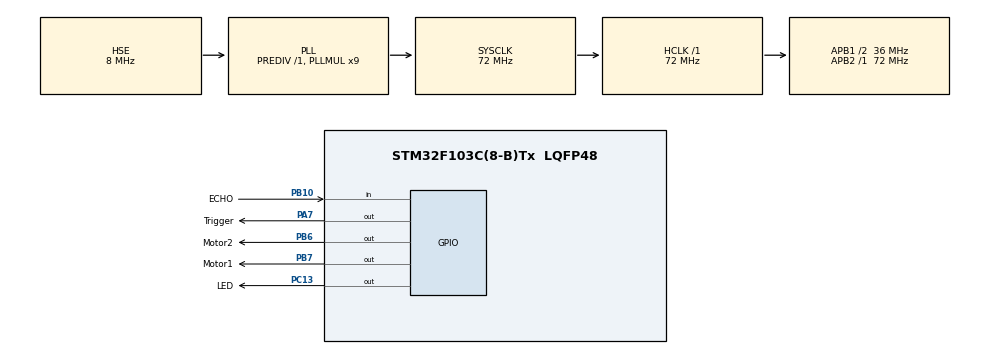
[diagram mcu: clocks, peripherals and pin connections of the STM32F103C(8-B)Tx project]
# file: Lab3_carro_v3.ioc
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Mcu.Family=STM32F1
Mcu.Name=STM32F103C(8-B)Tx
Mcu.Package=LQFP48
NVIC.PriorityGroup=NVIC_PRIORITYGROUP_4
NVIC.TIM2_IRQn=true\:0\:0\:false\:false\:true\:true\:true\:true
PA7.GPIO_Label=Trigger
PA7.Signal=GPIO_Output
PB10.GPIO_Label=ECHO
PB10.GPIO_PuPd=GPIO_PULLDOWN
PB10.Signal=GPIO_Input
PB6.GPIO_Label=Motor2
PB6.Signal=GPIO_Output
PB7.GPIO_Label=Motor1
PB7.Signal=GPIO_Output
PC13-TAMPER-RTC.GPIO_Label=LED
PC13-TAMPER-RTC.Signal=GPIO_Output
PD0-OSC_IN.Mode=HSE-External-Oscillator
PD0-OSC_IN.Signal=RCC_OSC_IN
PD1-OSC_OUT.Mode=HSE-External-Oscillator
PD1-OSC_OUT.Signal=RCC_OSC_OUT
ProjectManager.HeapSize=0x200
ProjectManager.StackSize=0x400
ProjectManager.TargetToolchain=STM32CubeIDE
RCC.AHBFreq_Value=72000000
RCC.APB1CLKDivider=RCC_HCLK_DIV2
RCC.APB1Freq_Value=36000000
RCC.APB1TimFreq_Value=72000000
RCC.APB2Freq_Value=72000000
RCC.APB2TimFreq_Value=72000000
RCC.HCLKFreq_Value=72000000
RCC.PLLMUL=RCC_PLL_MUL9
RCC.PLLSourceVirtual=RCC_PLLSOURCE_HSE
RCC.SYSCLKFreq_VALUE=72000000
RCC.SYSCLKSource=RCC_SYSCLKSOURCE_PLLCLK
RCC.USBFreq_Value=72000000
TIM2.Period=65535
TIM2.Prescaler=71
VP_SYS_VS_ND.Mode=No_Debug
VP_TIM2_VS_ClockSourceINT.Mode=Internal
board=custom

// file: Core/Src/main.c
/* USER CODE BEGIN Header */
/**
  ******************************************************************************
  * @file           : main.c
  * @brief          : Main program body
  ******************************************************************************
  * @attention
  *
  * Copyright (c) 2026 STMicroelectronics.
  * All rights reserved.
  *
  * This software is licensed under terms that can be found in the LICENSE file
  * in the root directory of this software component.
  * If no LICENSE file comes with this software, it is provided AS-IS.
  *
  ******************************************************************************
  */
/* USER CODE END Header */
#include "main.h"

/* USER CODE BEGIN Includes */
#include <string.h>
#include <math.h>
/* USER CODE END Includes */

/* USER CODE BEGIN PD */
#define Vel_son 0.034f // velocidad del sonido en cm/us
#define Dis_stop 10.0f // distancia  a la que debe parar
/* USER CODE END PD */

TIM_HandleTypeDef htim2;

/* USER CODE BEGIN PV */
uint32_t ultimo_disparo_ms = 0;
uint32_t ultimo_blink_ms = 0;
uint32_t tiempo_echo_us = 0;
float x = 0.0f; // Distancia en cm
uint8_t led_state = 0;
/* USER CODE END PV */

void SystemClock_Config(void);
static void MX_GPIO_Init(void);
static void MX_TIM2_Init(void);
/* USER CODE BEGIN PFP */
void Delay_us(uint16_t us);
void enviar_senal(void);
float Medir_Distancia(void);
/* USER CODE END PFP */

/* USER CODE BEGIN 0 */
void Delay_us(uint16_t us)
{
  __HAL_TIM_SET_COUNTER(&htim2, 0);
  while (__HAL_TIM_GET_COUNTER(&htim2) < us);
}

void enviar_senal(void)
{
  HAL_GPIO_WritePin(Trigger_GPIO_Port, Trigger_Pin, GPIO_PIN_RESET);
  Delay_us(2);
  HAL_GPIO_WritePin(Trigger_GPIO_Port, Trigger_Pin, GPIO_PIN_SET);
  Delay_us(11);
  HAL_GPIO_WritePin(Trigger_GPIO_Port, Trigger_Pin, GPIO_PIN_RESET);
}

float Medir_Distancia(void)
{
  uint32_t timeout_inicio;

  enviar_senal();
  timeout_inicio = HAL_GetTick();

  // 1. Esperar a que ECHO suba (maximo 30 ms)
  while (HAL_GPIO_ReadPin(ECHO_GPIO_Port, ECHO_Pin) == GPIO_PIN_RESET)
  {
    if ((HAL_GetTick() - timeout_inicio) > 30) return 999.0f;  // sin obstaculo
  }

  // 2. ECHO subio: cronometro en cero
  __HAL_TIM_SET_COUNTER(&htim2, 0);

  // 3. Esperar a que ECHO baje (maximo 30000 us)
  while (HAL_GPIO_ReadPin(ECHO_GPIO_Port, ECHO_Pin) == GPIO_PIN_SET)
  {
    if (__HAL_TIM_GET_COUNTER(&htim2) > 30000) return 999.0f;
  }

  // 4. El contador ya esta en microsegundos
  tiempo_echo_us = __HAL_TIM_GET_COUNTER(&htim2);

  // 5. Distancia = tiempo * velocidad del sonido / 2 (ida y vuelta)
  return (float)tiempo_echo_us * Vel_son / 2.0f;
}

/* USER CODE END 0 */

int main(void)
{

  /* MCU Configuration--------------------------------------------------------*/

  /* Reset of all peripherals, Initializes the Flash interface and the Systick. */
  HAL_Init();

  /* Configure the system clock */
  SystemClock_Config();

  /* Initialize all configured peripherals */
  MX_GPIO_Init();
  MX_TIM2_Init();
  /* USER CODE BEGIN 2 */
  HAL_TIM_Base_Start(&htim2);
  /* USER CODE END 2 */

  /* Infinite loop */
  while (1)
  {

    /* USER CODE BEGIN 3 */
	  // 1. Parpadeo del LED de estado cada 500 ms
	      if ((HAL_GetTick() - ultimo_blink_ms) >= 500)
	      {
	        ultimo_blink_ms = HAL_GetTick();
	        led_state = !led_state;
	        HAL_GPIO_WritePin(GPIOC, GPIO_PIN_13, led_state ? GPIO_PIN_SET : GPIO_PIN_RESET);
	      }

	      // 2. Medir distancia cada 60 ms
	      if ((HAL_GetTick() - ultimo_disparo_ms) >= 60)
	      {
	        ultimo_disparo_ms = HAL_GetTick();
	        x = Medir_Distancia();

	        if (x <= Dis_stop)
	        {
	          // Obstaculo a 10 cm o menos: frenar (ambos pines en 0)
	          HAL_GPIO_WritePin(GPIOB, Motor1_Pin | Motor2_Pin, GPIO_PIN_RESET);
	        }
	        else
	        {
	          // Camino libre: avanzar (ambos pines en 1)
	          HAL_GPIO_WritePin(GPIOB, Motor1_Pin | Motor2_Pin, GPIO_PIN_SET);
	        }
	      }
  }
  /* USER CODE END 3 */
}

void SystemClock_Config(void)
{
  RCC_OscInitTypeDef RCC_OscInitStruct = {0};
  RCC_ClkInitTypeDef RCC_ClkInitStruct = {0};

  /** Initializes the RCC Oscillators according to the specified parameters
  * in the RCC_OscInitTypeDef structure.
  */
  RCC_OscInitStruct.OscillatorType = RCC_OSCILLATORTYPE_HSE;
  RCC_OscInitStruct.HSEState = RCC_HSE_ON;
  RCC_OscInitStruct.HSEPredivValue = RCC_HSE_PREDIV_DIV1;
  RCC_OscInitStruct.HSIState = RCC_HSI_ON;
  RCC_OscInitStruct.PLL.PLLState = RCC_PLL_ON;
  RCC_OscInitStruct.PLL.PLLSource = RCC_PLLSOURCE_HSE;
  RCC_OscInitStruct.PLL.PLLMUL = RCC_PLL_MUL9;
  if (HAL_RCC_OscConfig(&RCC_OscInitStruct) != HAL_OK)
  {
    Error_Handler();
  }

  /** Initializes the CPU, AHB and APB buses clocks
  */
  RCC_ClkInitStruct.ClockType = RCC_CLOCKTYPE_HCLK|RCC_CLOCKTYPE_SYSCLK
                              |RCC_CLOCKTYPE_PCLK1|RCC_CLOCKTYPE_PCLK2;
  RCC_ClkInitStruct.SYSCLKSource = RCC_SYSCLKSOURCE_PLLCLK;
  RCC_ClkInitStruct.AHBCLKDivider = RCC_SYSCLK_DIV1;
  RCC_ClkInitStruct.APB1CLKDivider = RCC_HCLK_DIV2;
  RCC_ClkInitStruct.APB2CLKDivider = RCC_HCLK_DIV1;

  if (HAL_RCC_ClockConfig(&RCC_ClkInitStruct, FLASH_LATENCY_2) != HAL_OK)
  {
    Error_Handler();
  }
}

static void MX_TIM2_Init(void)
{

  TIM_ClockConfigTypeDef sClockSourceConfig = {0};
  TIM_MasterConfigTypeDef sMasterConfig = {0};

  htim2.Instance = TIM2;
  htim2.Init.Prescaler = 71;
  htim2.Init.CounterMode = TIM_COUNTERMODE_UP;
  htim2.Init.Period = 65535;
  htim2.Init.ClockDivision = TIM_CLOCKDIVISION_DIV1;
  htim2.Init.AutoReloadPreload = TIM_AUTORELOAD_PRELOAD_DISABLE;
  if (HAL_TIM_Base_Init(&htim2) != HAL_OK)
  {
    Error_Handler();
  }
  sClockSourceConfig.ClockSource = TIM_CLOCKSOURCE_INTERNAL;
  if (HAL_TIM_ConfigClockSource(&htim2, &sClockSourceConfig) != HAL_OK)
  {
    Error_Handler();
  }
  sMasterConfig.MasterOutputTrigger = TIM_TRGO_RESET;
  sMasterConfig.MasterSlaveMode = TIM_MASTERSLAVEMODE_DISABLE;
  if (HAL_TIMEx_MasterConfigSynchronization(&htim2, &sMasterConfig) != HAL_OK)
  {
    Error_Handler();
  }

}

static void MX_GPIO_Init(void)
{
  GPIO_InitTypeDef GPIO_InitStruct = {0};

  /* GPIO Ports Clock Enable */
  __HAL_RCC_GPIOC_CLK_ENABLE();
  __HAL_RCC_GPIOD_CLK_ENABLE();
  __HAL_RCC_GPIOA_CLK_ENABLE();
  __HAL_RCC_GPIOB_CLK_ENABLE();

  /*Configure GPIO pin Output Level */
  HAL_GPIO_WritePin(LED_GPIO_Port, LED_Pin, GPIO_PIN_RESET);

  /*Configure GPIO pin Output Level */
  HAL_GPIO_WritePin(Trigger_GPIO_Port, Trigger_Pin, GPIO_PIN_RESET);

  /*Configure GPIO pin Output Level */
  HAL_GPIO_WritePin(GPIOB, Motor2_Pin|Motor1_Pin, GPIO_PIN_RESET);

  /*Configure GPIO pin : LED_Pin */
  GPIO_InitStruct.Pin = LED_Pin;
  GPIO_InitStruct.Mode = GPIO_MODE_OUTPUT_PP;
  GPIO_InitStruct.Pull = GPIO_NOPULL;
  GPIO_InitStruct.Speed = GPIO_SPEED_FREQ_LOW;
  HAL_GPIO_Init(LED_GPIO_Port, &GPIO_InitStruct);

  /*Configure GPIO pin : Trigger_Pin */
  GPIO_InitStruct.Pin = Trigger_Pin;
  GPIO_InitStruct.Mode = GPIO_MODE_OUTPUT_PP;
  GPIO_InitStruct.Pull = GPIO_NOPULL;
  GPIO_InitStruct.Speed = GPIO_SPEED_FREQ_LOW;
  HAL_GPIO_Init(Trigger_GPIO_Port, &GPIO_InitStruct);

  /*Configure GPIO pin : ECHO_Pin */
  GPIO_InitStruct.Pin = ECHO_Pin;
  GPIO_InitStruct.Mode = GPIO_MODE_INPUT;
  GPIO_InitStruct.Pull = GPIO_PULLDOWN;
  HAL_GPIO_Init(ECHO_GPIO_Port, &GPIO_InitStruct);

  /*Configure GPIO pins : Motor2_Pin Motor1_Pin */
  GPIO_InitStruct.Pin = Motor2_Pin|Motor1_Pin;
  GPIO_InitStruct.Mode = GPIO_MODE_OUTPUT_PP;
  GPIO_InitStruct.Pull = GPIO_NOPULL;
  GPIO_InitStruct.Speed = GPIO_SPEED_FREQ_LOW;
  HAL_GPIO_Init(GPIOB, &GPIO_InitStruct);

}

void Error_Handler(void)
{
  __disable_irq();
  while (1)
  {
  }
}
